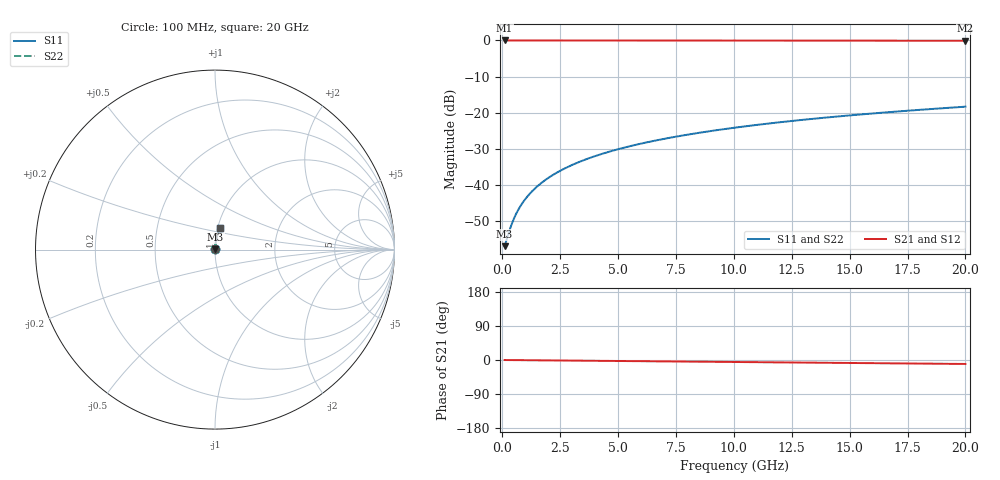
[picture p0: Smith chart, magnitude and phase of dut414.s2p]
! Touchstone file exported from HFSS 2026.1.0
!  File:  C:/ffzhzh/LocalFiles/Ansys_Project_Files/temp_train_TSV_414_1783020644_46388.aedt
!  Generated:  03:33:27 AM Jul  3, 2026
!  Design:  TSV
!  Project:  temp_train_TSV_414_1783020644_46388
! Variables:
!  h_bsmrdl = 2um
!  h_ox = 20um
!  h_rdl = 5um
!  h_sub = 74.53um
!  h_tmrdl = 5um
!  h_tsv = 74.53um
!  h_via = 3um
!  l_bsmrdl = 300um
!  l_sub = 405.2um
!  l_tmrdl = 200um
!  m_sub = 200um
!  pitch = 43.2um
!  r_tsv = 2.6um
!  s_tmrdl = 10um
!  w_bsmrdl = 18um
!  w_sub = 500um
!  w_tmrdl = 12um
!  x_tsv_center1 = 206um
!  x_tsv_center2 = 524um
!  x_tsv_center3 = 736um
!  x_tsv_center4 = 1054um
!  x_tsv_center5 = 1266um
!  x_tsv_center6 = 1584um
# GHz S MA R 50.000000
! Terminal data exported
! Port[1] = TSV1_1_T1
! Port[2] = TSV1_1_T2
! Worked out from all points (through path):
!   200 points, 100 MHz to 20 GHz, reference 50 ohm
!   highest |S21| = -0.01 dB at 100 MHz (marker M1); lowest = -0.1 dB at 20 GHz (marker M2)
!   group delay of S21, straight-line fit = 1.45 ps
!   lowest |S11| = -56.9 dB at 100 MHz (marker M3), VSWR 1.00, Z = 50.1 + j0.0638 ohm
!   |S11| at or under -10 dB: start of sweep to end of sweep
!   |S22| runs from -56.9 to -18.3 dB; largest |S21 - S12| = 6.1e-15
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0.1  0.001432 26.4  0.9987 -0.1  0.9987 -0.1  0.001432 26.4
! Gamma 0 0 0 0
! Port Impedance 50 0 50 0
0.3  0.002305 55.7  0.9987 -0.2  0.9987 -0.2  0.002305 55.7
0.4  0.002853 62.7  0.9987 -0.2  0.9987 -0.2  0.002853 62.7
0.5  0.003429 67.3  0.9987 -0.3  0.9987 -0.3  0.003429 67.3
0.6  0.004019 70.6  0.9987 -0.3  0.9987 -0.3  0.004019 70.6
0.7  0.004619 73.0  0.9987 -0.4  0.9987 -0.4  0.004619 73.0
0.9  0.005835 76.3  0.9987 -0.5  0.9987 -0.5  0.005835 76.3
1.2  0.007682 79.3  0.9986 -0.6  0.9986 -0.6  0.007682 79.3
1.4  0.00892 80.5  0.9986 -0.7  0.9986 -0.7  0.00892 80.5
1.7  0.01079 81.8  0.9986 -0.9  0.9986 -0.9  0.01079 81.8
2.2  0.0139 83.0  0.9985 -1.2  0.9985 -1.2  0.0139 83.0
2.8  0.01764 83.8  0.9984 -1.5  0.9984 -1.5  0.01764 83.8
3.5  0.02201 84.2  0.9982 -1.9  0.9982 -1.9  0.02201 84.2
4.2  0.02637 84.3  0.9981 -2.2  0.9981 -2.2  0.02637 84.3
5  0.03133 84.3  0.9978 -2.7  0.9978 -2.7  0.03133 84.3
5.9  0.0369 84.1  0.9975 -3.1  0.9975 -3.1  0.0369 84.1
6.8  0.04244 83.8  0.9972 -3.6  0.9972 -3.6  0.04244 83.8
8.3  0.05163 83.2  0.9965 -4.4  0.9965 -4.4  0.05163 83.2
10.1  0.06257 82.5  0.9957 -5.3  0.9957 -5.3  0.06257 82.5
13.4  0.08241 81.0  0.9938 -7.1  0.9938 -7.1  0.08241 81.0
16.7  0.102 79.4  0.9916 -8.8  0.9916 -8.8  0.102 79.4
20  0.1213 77.9  0.9891 -10.5  0.9891 -10.5  0.1213 77.9
